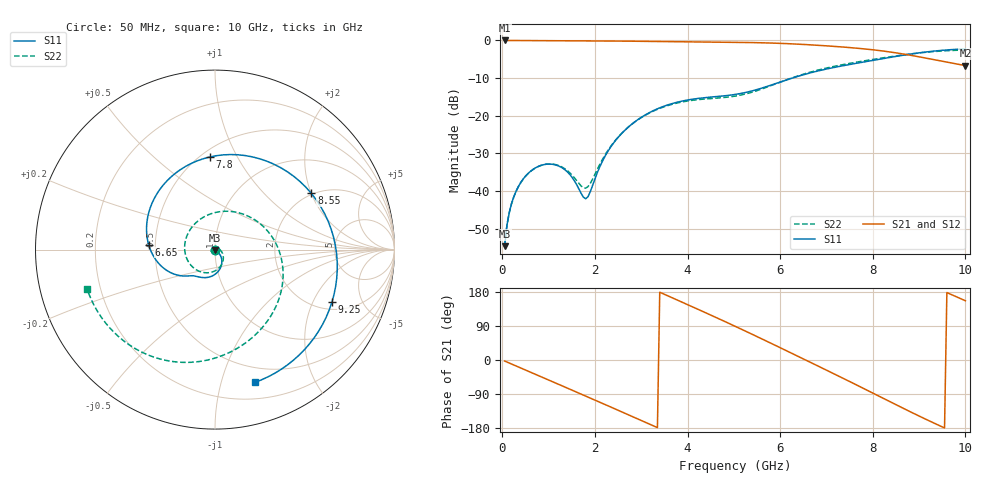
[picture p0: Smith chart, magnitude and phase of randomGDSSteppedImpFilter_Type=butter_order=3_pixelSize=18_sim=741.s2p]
! freq	dB(S11)	phase(S11)	dB(S12)	phase(S12)
!  dB(S21)	phase(S21)	dB(S22)	phase(S22)
!S-par simulation data
#  GHz  S  DB  R 50
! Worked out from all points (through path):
!   200 points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, 50 MHz to 10 GHz, reference 50 ohm
!   highest |S21| = -0.01 dB at 50 MHz (marker M1); lowest = -6.7 dB at 10 GHz (marker M2)
!   group delay of S21, straight-line fit = 158 ps
!   lowest |S11| = -54.6 dB at 50 MHz (marker M3), VSWR 1.00, Z = 50 - j0.181 ohm
!   |S11| at or under -10 dB: start of sweep to 6.261 GHz
!   |S22| runs from -54.6 to -2.6 dB; largest |S21 - S12| = 0
!   S11 on the Smith chart (normalised r, x): 50 MHz: 1.00, -0.00; 6.65 GHz: 0.46, +0.03; 7.8 GHz: 0.55, +0.78; 8.55 GHz: 1.96, +2.00; 9.25 GHz: 2.36, -2.83; 10 GHz: 0.35, -1.29
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0.05  -54.64 -77.9  -0.01 -2.7  -0.01 -2.7  -54.62 -79.1
0.15  -45.72 -91.9  -0.01 -8.0  -0.01 -8.0  -45.77 -94.4
0.25  -41.45 -98.8  -0.02 -13.3  -0.02 -13.3  -41.51 -103.0
0.7  -33.96 -121.5  -0.05 -37.0  -0.05 -37.0  -33.99 -134.4
1.3  -33.89 -143.7  -0.08 -68.6  -0.08 -68.6  -33.70 179.7
1.75  -41.61 -114.6  -0.10 -92.5  -0.10 -92.5  -39.12 102.2
1.85  -41.52 -81.2  -0.11 -97.8  -0.11 -97.8  -38.84 68.6
2.15  -32.39 -44.0  -0.13 -113.8  -0.13 -113.8  -31.89 3.0
2.5  -25.76 -49.7  -0.17 -132.6  -0.17 -132.6  -25.69 -32.0
3.4  -17.90 -84.1  -0.30 178.8  -0.30 178.8  -18.04 -96.7
4.35  -15.23 -116.6  -0.43 127.0  -0.43 127.0  -15.58 -168.3
5.05  -14.30 -130.9  -0.50 87.7  -0.50 87.7  -14.74 125.8
5.5  -13.05 -138.6  -0.59 61.8  -0.59 61.8  -13.33 80.4
5.95  -11.26 -151.2  -0.75 35.5  -0.75 35.5  -11.32 39.7
6.65  -8.62 175.7  -1.16 -6.0  -1.16 -6.0  -8.42 -10.2
6.7  -8.46 172.8  -1.20 -8.9  -1.20 -8.9  -8.25 -13.2
7.25  -6.96 136.3  -1.65 -41.7  -1.65 -41.7  -6.67 -42.9
7.8  -5.73 93.3  -2.22 -75.0  -2.22 -75.0  -5.46 -67.5
8.35  -4.55 47.0  -3.02 -108.7  -3.02 -108.7  -4.38 -89.8
8.55  -4.13 30.3  -3.39 -120.9  -3.39 -120.9  -4.02 -97.9
9.25  -2.92 -24.3  -4.95 -162.4  -4.95 -162.4  -3.02 -127.6
10  -2.24 -73.2  -6.67 156.3  -6.67 156.3  -2.55 -162.9
